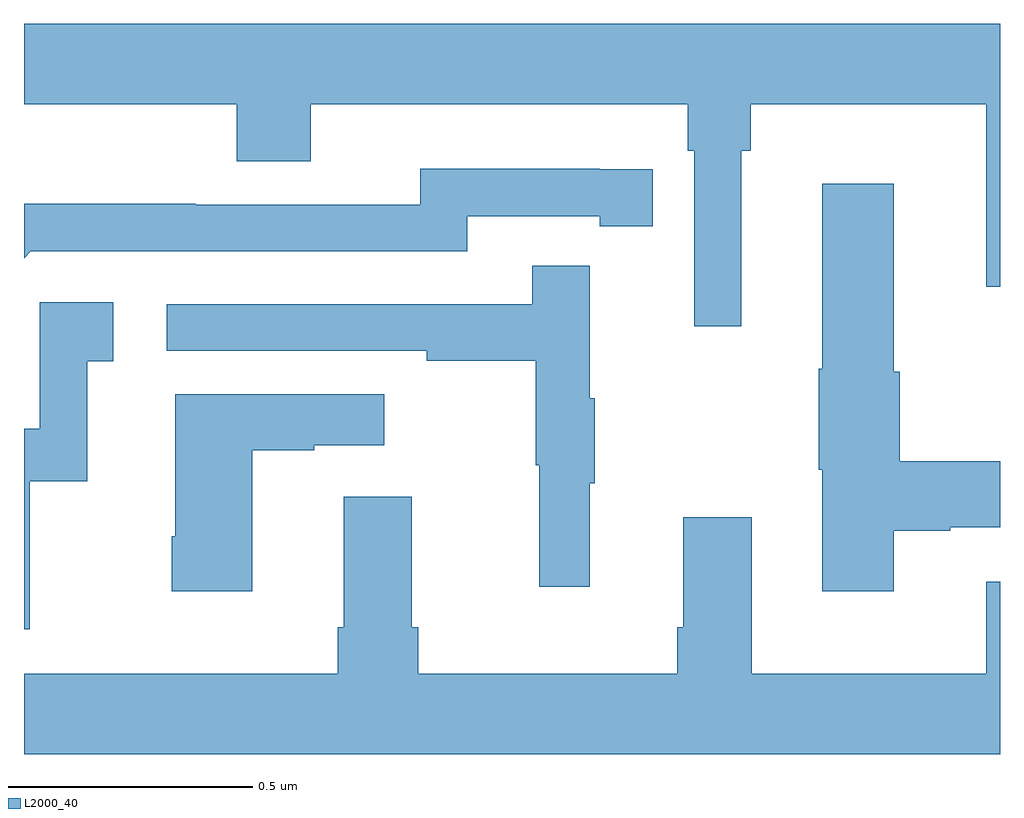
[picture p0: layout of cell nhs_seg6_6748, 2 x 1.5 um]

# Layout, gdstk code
import gdstk
lib = gdstk.Library(unit=1e-6, precision=1e-09)
def P(c, l, *ps):  # polygons
    for p in ps: c.add(gdstk.Polygon(p, *l))
L2000_40 = (2000, 40)

nhs_seg6_6748 = lib.new_cell('nhs_seg6_6748')
P(nhs_seg6_6748, L2000_40, [(200.47,991.196),(200.489,991.196),(200.489,991.292),(200.972,991.292),(200.972,990.918),(201,990.918),(201,991.456),(199,991.456),(199,991.292),(199.436,991.292),(199.436,991.175),(199.588,991.175),(199.588,991.292),(200.36,991.292),(200.36,991.196),(200.373,991.196),(200.373,990.837),(200.47,990.837)],
  [(199.014,990.99),(199.908,990.99),(199.908,991.062),(200.18,991.062),(200.18,991.042),(200.288,991.042),(200.288,991.158),(200.18,991.158),(200.18,991.159),(199.812,991.159),(199.812,991.086),(199.352,991.086),(199.352,991.088),(199,991.088),(199,990.976)],
  [(200.782,990.418),(200.898,990.418),(200.898,990.425),(201,990.425),(201,990.56),(200.795,990.56),(200.795,990.743),(200.782,990.743),(200.782,991.129),(200.636,991.129),(200.636,990.749),(200.629,990.749),(200.629,990.543),(200.636,990.543),(200.636,990.294),(200.782,990.294)],
  [(200.159,990.515),(200.17,990.515),(200.17,990.689),(200.159,990.689),(200.159,990.961),(200.041,990.961),(200.041,990.882),(199.293,990.882),(199.293,990.786),(199.825,990.786),(199.825,990.766),(200.049,990.766),(200.049,990.552),(200.056,990.552),(200.056,990.303),(200.159,990.303)],
  [(199.012,990.519),(199.13,990.519),(199.13,990.765),(199.183,990.765),(199.183,990.886),(199.032,990.886),(199.032,990.627),(199,990.627),(199,990.216),(199.012,990.216)],
  [(199.468,990.583),(199.595,990.583),(199.595,990.593),(199.738,990.593),(199.738,990.697),(199.31,990.697),(199.31,990.406),(199.303,990.406),(199.303,990.294),(199.468,990.294)],
  [(201,990.313),(200.972,990.313),(200.972,990.124),(200.491,990.124),(200.491,990.445),(200.351,990.445),(200.351,990.22),(200.339,990.22),(200.339,990.124),(199.808,990.124),(199.808,990.22),(199.795,990.22),(199.795,990.487),(199.655,990.487),(199.655,990.22),(199.643,990.22),(199.643,990.124),(199,990.124),(199,989.96),(201,989.96)])

lib.write_gds('nhs_seg6_6748.gds')
